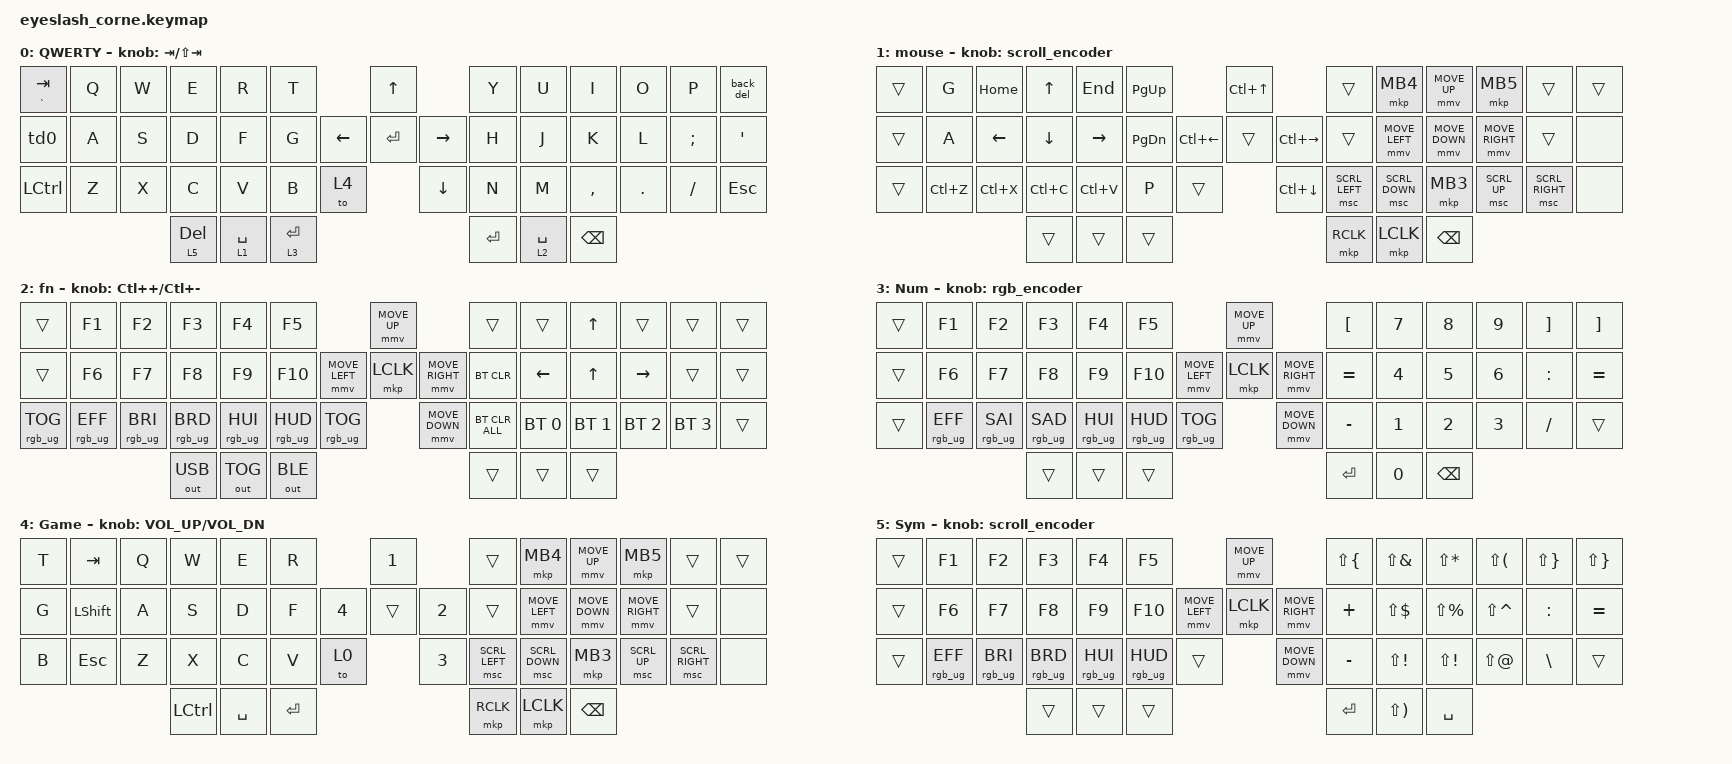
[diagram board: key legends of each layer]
#define ZMK_POINTING_DEFAULT_MOVE_VAL 1200  // 600
#define ZMK_POINTING_DEFAULT_SCRL_VAL 25   // 10

#include <input/processors.dtsi>
#include <zephyr/dt-bindings/input/input-event-codes.h>
#include <behaviors.dtsi>
#include <dt-bindings/zmk/bt.h>
#include <dt-bindings/zmk/keys.h>
#include <dt-bindings/zmk/outputs.h>
#include <dt-bindings/zmk/pointing.h>
#include <dt-bindings/zmk/rgb.h>

&mmv_input_listener { input-processors = <&zip_xy_scaler 2 1>; };

&msc_input_listener { input-processors = <&zip_scroll_scaler 2 1>; };

&msc {
    acceleration-exponent = <1>;      // 0
    time-to-max-speed-ms = <100>;       // 300
    delay-ms = <0>;                   // 0
};

&mmv {
    time-to-max-speed-ms = <500>;
    acceleration-exponent = <1>;
    trigger-period-ms = <16>;
};

/ {
    behaviors {
        back_del: back_del {
            compatible = "zmk,behavior-mod-morph";
            label = "BACK_DEL";
            bindings = <&kp BACKSPACE>, <&kp DELETE>;

            #binding-cells = <0>;
            mods = <(MOD_RSFT|MOD_LSFT)>;
        };

        td0: td0 {
            compatible = "zmk,behavior-tap-dance";
            #binding-cells = <0>;
            bindings = <&kp LEFT_SHIFT>, <&kp CAPSLOCK>;
        };
    };

    rgb_encoder: rgb_encoder {
        compatible = "zmk,behavior-sensor-rotate";
        #sensor-binding-cells = <0>;
        bindings = <&rgb_ug RGB_BRI>, <&rgb_ug RGB_BRD>;
    };

    scroll_encoder: scroll_encoder {
        compatible = "zmk,behavior-sensor-rotate";
        #sensor-binding-cells = <0>;
        bindings = <&msc SCRL_DOWN>, <&msc SCRL_UP>;

        tap-ms = <100>;
    };

    combos {
        compatible = "zmk,combos";

        combo_esc {
            bindings = <&kp ESCAPE>;
            key-positions = <23 24>;
        };

        combo_leftLP {
            bindings = <&kp LEFT_PARENTHESIS>;
            key-positions = <17 18>;
        };

        combo_leftBR {
            bindings = <&kp LEFT_BRACE>;
            key-positions = <32 33>;
        };

        combo_leftBT {
            bindings = <&kp LEFT_BRACKET>;
            key-positions = <4 5>;
        };

        combo_rightPT {
            bindings = <&kp RIGHT_PARENTHESIS>;
            key-positions = <22 23>;
        };

        combo_rightBR {
            bindings = <&kp RIGHT_BRACE>;
            key-positions = <36 37>;
        };

        combo_rightBT {
            bindings = <&kp RIGHT_BRACKET>;
            key-positions = <7 8>;
        };

        combo_backslash {
            bindings = <&kp NON_US_BACKSLASH>;
            key-positions = <40 39>;
        };

        combo_pipe {
            bindings = <&kp PIPE>;
            key-positions = <40 41>;
        };

        LeftShift {
            bindings = <&td0>;
            key-positions = <15 16>;
            layers = <0 3>;
        };

        LeftGUI {
            bindings = <&kp LEFT_WIN>;
            key-positions = <14 17>;
            layers = <0 3>;
        };

        RightControl {
            bindings = <&kp RCTRL>;
            key-positions = <25 26>;
        };

        LeftAlt {
            bindings = <&kp LEFT_ALT>;
            key-positions = <16 17>;
            layers = <0 3>;
        };

        RightShift {
            bindings = <&td0>;
            key-positions = <24 25>;
            layers = <0 3>;
        };

        RightGUI {
            bindings = <&kp LEFT_WIN>;
            key-positions = <23 26>;
        };

        RightAlt {
            bindings = <&kp RIGHT_ALT>;
            key-positions = <23 24>;
        };

        LeftControl {
            bindings = <&kp LCTRL>;
            key-positions = <15 14>;
            layers = <0 3>;
        };
    };

    keymap {
        compatible = "zmk,keymap";

        default_layer {
            display-name = "QWERTY";
            bindings = <
&mt GRAVE TAB     &kp Q  &kp W  &kp E         &kp R        &kp T                           &kp UP                &kp Y      &kp U        &kp I          &kp O    &kp P     &back_del
&td0              &kp A  &kp S  &kp D         &kp F        &kp G                 &kp LEFT  &kp ENTER  &kp RIGHT  &kp H      &kp J        &kp K          &kp L    &kp SEMI  &kp SQT
&kp LEFT_CONTROL  &kp Z  &kp X  &kp C         &kp V        &kp B        &to 4              &kp DOWN              &kp N      &kp M        &kp COMMA      &kp DOT  &kp FSLH  &kp ESCAPE
                                &lt 5 DELETE  &lt 1 SPACE  &lt 3 ENTER                                           &kp ENTER  &lt 2 SPACE  &kp BACKSPACE
            >;

            sensor-bindings = <&inc_dec_kp TAB LS(TAB)>;
        };

        Mouse {
            display-name = "mouse";
            bindings = <
&trans  &kp G      &kp HOME   &kp UP_ARROW  &kp END    &kp PAGE_UP                            &kp LC(UP_ARROW)                 &trans          &mkp MB4        &mmv MOVE_UP    &mkp MB5         &trans           &trans
&trans  &kp A      &kp LEFT   &kp DOWN      &kp RIGHT  &kp PAGE_DOWN            &kp LC(LEFT)  &trans            &kp LC(RIGHT)  &trans          &mmv MOVE_LEFT  &mmv MOVE_DOWN  &mmv MOVE_RIGHT  &trans           &none
&trans  &kp LC(Z)  &kp LC(X)  &kp LC(C)     &kp LC(V)  &kp P          &trans                  &kp LC(DOWN)                     &msc SCRL_LEFT  &msc SCRL_DOWN  &mkp MB3        &msc SCRL_UP     &msc SCRL_RIGHT  &none
                              &trans        &trans     &trans                                                                  &mkp RCLK       &mkp LCLK       &kp BACKSPACE
            >;

            sensor-bindings = <&scroll_encoder>;
        };

        Function {
            display-name = "fn";
            bindings = <
&trans           &kp F1           &kp F2           &kp F3           &kp F4           &kp F5                                              &mmv MOVE_UP                     &trans          &trans          &kp UP_ARROW  &trans        &trans        &trans
&trans           &kp F6           &kp F7           &kp F8           &kp F9           &kp F10                             &mmv MOVE_LEFT  &mkp LCLK       &mmv MOVE_RIGHT  &bt BT_CLR      &kp LEFT_ARROW  &kp UP_ARROW  &kp RIGHT     &trans        &trans
&rgb_ug RGB_TOG  &rgb_ug RGB_EFF  &rgb_ug RGB_BRI  &rgb_ug RGB_BRD  &rgb_ug RGB_HUI  &rgb_ug RGB_HUD  &rgb_ug RGB_TOG                    &mmv MOVE_DOWN                   &bt BT_CLR_ALL  &bt BT_SEL 0    &bt BT_SEL 1  &bt BT_SEL 2  &bt BT_SEL 3  &trans
                                                   &out OUT_USB     &out OUT_TOG     &out OUT_BLE                                                                         &trans          &trans          &trans
            >;

            sensor-bindings = <&inc_dec_kp LC(PLUS) LC(MINUS)>;
        };

        Numpad {
            display-name = "Num";
            bindings = <
&trans  &kp F1           &kp F2           &kp F3           &kp F4           &kp F5                                              &mmv MOVE_UP                     &kp LBKT   &kp N7        &kp N8         &kp N9  &kp RBKT   &kp RBKT
&trans  &kp F6           &kp F7           &kp F8           &kp F9           &kp F10                             &mmv MOVE_LEFT  &mkp LCLK       &mmv MOVE_RIGHT  &kp EQUAL  &kp NUMBER_4  &kp N5         &kp N6  &kp COLON  &kp EQUAL
&trans  &rgb_ug RGB_EFF  &rgb_ug RGB_SAI  &rgb_ug RGB_SAD  &rgb_ug RGB_HUI  &rgb_ug RGB_HUD  &rgb_ug RGB_TOG                    &mmv MOVE_DOWN                   &kp MINUS  &kp N1        &kp N2         &kp N3  &kp FSLH   &trans
                                          &trans           &trans           &trans                                                                               &kp ENTER  &kp N0        &kp BACKSPACE
            >;

            sensor-bindings = <&rgb_encoder>;
        };

        Gaming {
            display-name = "Game";
            bindings = <
&kp T  &kp TAB     &kp Q  &kp W             &kp E      &kp R                           &kp NUMBER_1                &trans          &mkp MB4        &mmv MOVE_UP    &mkp MB5         &trans           &trans
&kp G  &kp LSHFT   &kp A  &kp S             &kp D      &kp F             &kp NUMBER_4  &trans        &kp NUMBER_2  &trans          &mmv MOVE_LEFT  &mmv MOVE_DOWN  &mmv MOVE_RIGHT  &trans           &none
&kp B  &kp ESCAPE  &kp Z  &kp X             &kp C      &kp V    &to 0                  &kp NUMBER_3                &msc SCRL_LEFT  &msc SCRL_DOWN  &mkp MB3        &msc SCRL_UP     &msc SCRL_RIGHT  &none
                          &kp LEFT_CONTROL  &kp SPACE  &kp RET                                                     &mkp RCLK       &mkp LCLK       &kp BACKSPACE
            >;

            sensor-bindings = <&inc_dec_kp C_VOLUME_UP C_VOL_DN>;
        };

        Symbols {
            display-name = "Sym";
            bindings = <
&trans  &kp F1           &kp F2           &kp F3           &kp F4           &kp F5                                     &mmv MOVE_UP                     &kp LS(LBRC)  &kp LS(AMPS)  &kp LS(STAR)   &kp LS(LPAR)   &kp LS(RBRC)  &kp LS(RBRC)
&trans  &kp F6           &kp F7           &kp F8           &kp F9           &kp F10                    &mmv MOVE_LEFT  &mkp LCLK       &mmv MOVE_RIGHT  &kp PLUS      &kp LS(DLLR)  &kp LS(PRCNT)  &kp LS(CARET)  &kp COLON     &kp EQUAL
&trans  &rgb_ug RGB_EFF  &rgb_ug RGB_BRI  &rgb_ug RGB_BRD  &rgb_ug RGB_HUI  &rgb_ug RGB_HUD  &trans                    &mmv MOVE_DOWN                   &kp MINUS     &kp LS(EXCL)  &kp LS(EXCL)   &kp LS(AT)     &kp BSLH      &trans
                                          &trans           &trans           &trans                                                                      &kp ENTER     &kp LS(RPAR)  &kp SPACE
            >;

            sensor-bindings = <&scroll_encoder>;
        };
    };
};
